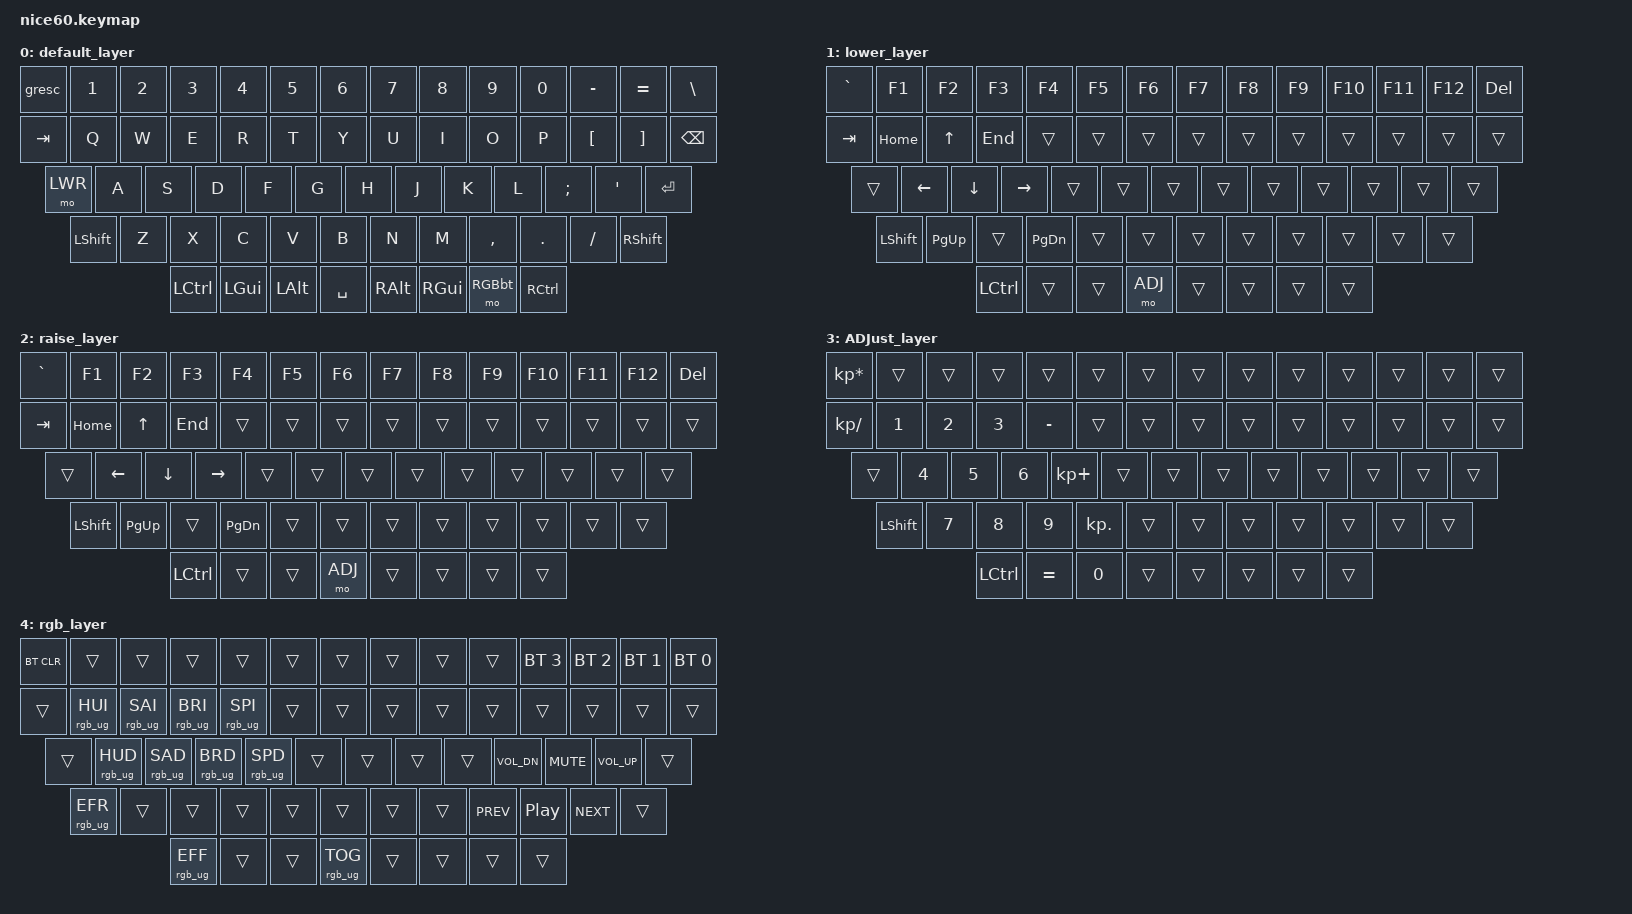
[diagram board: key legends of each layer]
/*
 * Copyright (c) 2021 Nick Winans
 *
 * SPDX-License-Identifier: MIT
 */

#include <behaviors.dtsi>
#include <dt-bindings/zmk/keys.h>
#include <dt-bindings/zmk/rgb.h>
#include <dt-bindings/zmk/bt.h>
#include <dt-bindings/zmk/outputs.h>
#include <dt-bindings/zmk/reset.h>
#include <dt-bindings/zmk/ext_power.h>
#define DEF 0
#define LWR 1
#define RSE 2
#define ADJ 3
#define RGBbt 4

/ {
	keymap {
		compatible = "zmk,keymap";
		
		default_layer {
// ------------------------------------------------------------------------------------------
// | ESC  |  1  |  2  |  3  |  4  |  5  |  6  |  7  |  8  |  9  |  0  |  -  |  =  |   "|"   |
// | TAB  |  Q  |  W  |  E  |  R  |  T  |  Y  |  U  |  I  |  O  |  P  |  [  |  ]  |   BKSP  |
// | LWR  |  A  |  S  |  D  |  F  |  G  |  H  |  J  |  K  |  L  |  ;  |  '  |     ENTER     |
// |  SHIFT  |  Z  |  X  |  C  |  V  |  B  |  N  |  M  |  ,  |  .  |  /  |      SHIFT       |
// |  CTRL  |  WIN  |  ALT  |           SPACE              |  ALT  |  WIN  |  RGBbt |  CTRL |
// ------------------------------------------------------------------------------------------
			bindings = <
	&gresc  &kp N1 &kp N2 &kp N3 &kp N4 &kp N5 &kp N6 &kp N7 &kp N8 &kp N9 &kp N0 &kp MINUS &kp EQUAL  &kp BSLH
	&kp TAB  &kp Q  &kp W  &kp E  &kp R  &kp T  &kp Y  &kp U  &kp I  &kp O  &kp P  &kp LBKT  &kp RBKT  &kp BSPC
	&mo LWR  &kp A  &kp S  &kp D  &kp F  &kp G  &kp H  &kp J  &kp K  &kp L  &kp SEMI &kp SQT           &kp RET
	&kp LSHFT   &kp Z  &kp X  &kp C  &kp V  &kp B  &kp N  &kp M  &kp COMMA &kp DOT &kp FSLH           &kp RSHFT
	&kp LCTRL &kp LGUI &kp LALT             &kp SPACE                     &kp RALT  &kp RGUI  &mo RGBbt   &kp RCTRL
			>;
		};

		lower_layer {
// ------------------------------------------------------------------------------------------------
// |  ~  |  F1  |  F2  |  F3  |  F4  |  F5  |  F6  |  F7  |  F8  |  F9  |  F10 |  F11 |  F12 | DEL |
// | TAB | HOME |  UP  | END |      |      |      |      |      |      |      |      |      |     |
// |     |  LT  |  DN  |  RT  |      |      |      |      |      |      |      |      |            |
// |  SHIFT  | PGUP |      |  PGDN |      |      |      |      |      |      |     |                |
// | CTRL |        |        |                 ADJ                   |       |       |       |      |
// ------------------------------------------------------------------------------------------------
			bindings = <
	&kp GRAVE   &kp F1    &kp F2    &kp F3  &kp F4           &kp F5          &kp F6          &kp F7          &kp F8   &kp F9   &kp F10  &kp F11 &kp F12  &kp DEL
	&kp TAB  &kp HOME   &kp UP    &kp END &trans  &trans &trans &trans  &trans   &trans   &trans   &trans  &trans          &trans 
	&trans   &kp LEFT  &kp DOWN  &kp RIGHT &trans &trans &trans &trans &trans   &trans   &trans   &trans        &trans
	&kp LSHFT     &kp PG_UP    &trans    &kp PG_DN   &trans     &trans          &trans          &trans          &trans   &trans   &trans               &trans
	&kp LCTRL  &trans   &trans                            &mo ADJ                                      &trans      &trans      &trans               &trans
			>;
		};

		raise_layer {
// ------------------------------------------------------------------------------------------------
// |  ~  |  F1  |  F2  |  F3  |  F4  |  F5  |  F6  |  F7  |  F8  |  F9  |  F10 |  F11 |  F12 | DEL |
// | TAB | HOME |  UP  | END |      |      |      |      |      |      |      |      |      |     |
// |     |  LT  |  DN  |  RT  |      |      |      |      |      |      |      |      |            |
// |  SHIFT  | PGUP |      |  PGDN |      |      |      |      |      |      |     |                |
// | CTRL |        |        |                 ADJ                   |       |       |       |      |
// ------------------------------------------------------------------------------------------------
			bindings = <
	&kp GRAVE   &kp F1    &kp F2    &kp F3  &kp F4           &kp F5          &kp F6          &kp F7          &kp F8   &kp F9   &kp F10  &kp F11 &kp F12  &kp DEL
	&kp TAB  &kp HOME   &kp UP    &kp END &trans  &trans &trans &trans  &trans   &trans   &trans   &trans  &trans          &trans 
	&trans   &kp LEFT  &kp DOWN  &kp RIGHT &trans &trans &trans &trans &trans   &trans   &trans   &trans        &trans
	&kp LSHFT     &kp PG_UP    &trans    &kp PG_DN   &trans     &trans          &trans          &trans          &trans   &trans   &trans               &trans
	&kp LCTRL  &trans   &trans                            &mo ADJ                                      &trans      &trans      &trans               &trans
			>;
		};
		
		ADJust_layer {
// ------------------------------------------------------------------------------------------------
// |   *  |     |     |     |     |     |     |     |     |     |     |    |    |               |
// |   /   |  1  |  2  |  3  |  -  |     |     |     |     |     |    |     |     |             |
// |        |  4  |  5  |  6  |  +  |     |     |     |     |     |     |     |              |
// |         |  7  |  8  |  9  |  .  |     |     |     |     |     |     |                   |
// | CTRL |   =   |   0   |                                    |        |       |       |       |
// ------------------------------------------------------------------------------------------------
			bindings = <
	&kp KP_ASTERISK   &trans   &trans   &trans   &trans   &trans   &trans   &trans   &trans   &trans   &trans   &trans   &trans      &trans
	&kp KP_SLASH        &kp N1 &kp N2 &kp N3 &kp MINUS    &trans   &trans   &trans   &trans   &trans   &trans   &trans   &trans    &trans 
	&trans               &kp N4 &kp N5 &kp N6 &kp KP_PLUS    &trans   &trans   &trans   &trans   &trans   &trans   &trans            &trans
	&kp LSHFT             &kp N7 &kp N8 &kp N9 &kp KP_DOT    &trans   &trans   &trans   &trans   &trans   &trans                    &trans
	&kp LCTRL      &kp EQUAL      &kp N0                           &trans                               &trans    &trans    &trans    &trans 
			>;
		};
		 		
		
		rgb_layer {
// ------------------------------------------------------------------------------------------------
// | BT CLR |     |     |     |     |     |     |     |     |     | BT 3 | BT 2 | BT 1 |  BT 0  |
// |           | HUEUP | SATUP | BRIUP | SPDUP |     |     |     |     |     |     |     |      |
// |            | HUEDN | SATDN | BRIDN | SPDDN |     |     |     |     |vol up|mute|vol dn|    |
// |  EFFECT REV  |     |      |      |     |     |     |     | prev | play| next|              |
// | EFFECT FORW |     |      |             TOG RGB               |      |       |       |      |
// ------------------------------------------------------------------------------------------------
			bindings = <
	 &bt BT_CLR       &trans    &trans  &trans  &trans  &trans  &trans  &trans  &trans  &trans   &bt BT_SEL 3  &bt BT_SEL 2  &bt BT_SEL 1 &bt BT_SEL 0 
	 &trans           &rgb_ug RGB_HUI  &rgb_ug RGB_SAI &rgb_ug RGB_BRI &rgb_ug RGB_SPI  &trans    &trans    &trans  &trans   &trans   &trans   &trans  &trans  &trans 
	 &trans           &rgb_ug RGB_HUD  &rgb_ug RGB_SAD &rgb_ug RGB_BRD &rgb_ug RGB_SPD   &trans    &trans    &trans  &trans   &kp C_VOL_DN &kp C_MUTE &kp C_VOL_UP  &trans
	 &rgb_ug RGB_EFR  &trans    &trans    &trans   &trans          &trans          &trans          &trans          &kp C_PREV   &kp C_PP   &kp C_NEXT             &trans
	 &rgb_ug RGB_EFF  &trans    &trans                            &rgb_ug RGB_TOG                                      &trans        &trans       &trans       &trans
			>;
		};
		
	};
};
 
